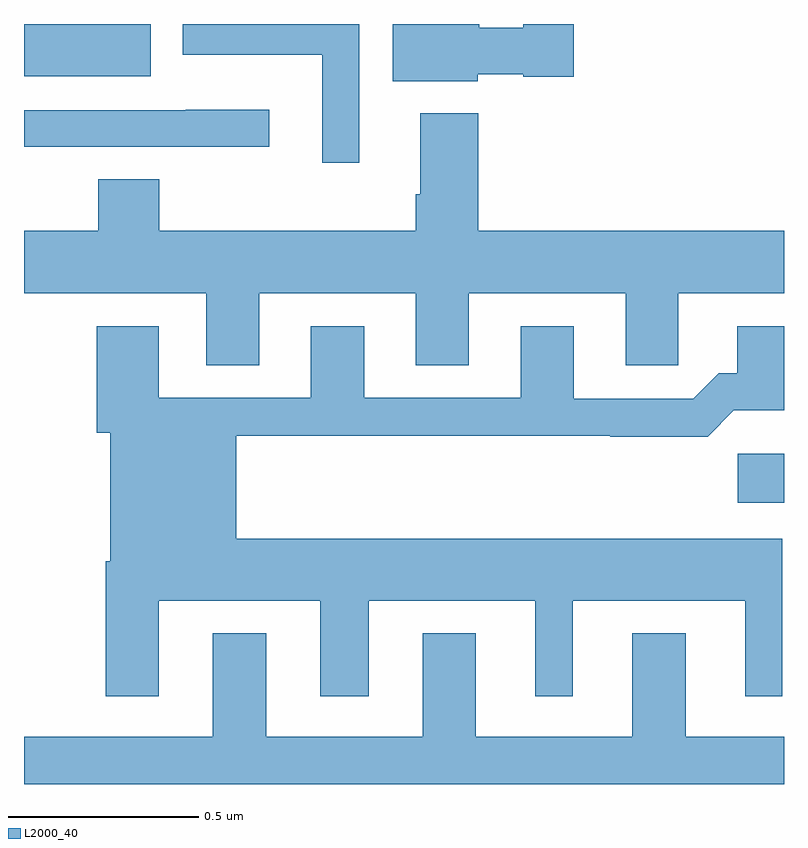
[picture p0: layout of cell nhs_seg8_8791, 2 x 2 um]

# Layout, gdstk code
import gdstk
lib = gdstk.Library(unit=1e-6, precision=1e-09)
def R(c, l, rs):  # rectangles x0, y0, x1, y1
    for r in rs: c.add(gdstk.rectangle(r[:2], r[2:], *l))
def P(c, l, *ps):  # polygons
    for p in ps: c.add(gdstk.Polygon(p, *l))
L2000_40 = (2000, 40)

nhs_seg8_8791 = lib.new_cell('nhs_seg8_8791')
R(nhs_seg8_8791, L2000_40, [(229.878,1090.64,230,1090.769), (228,1091.762,228.333,1091.9)])
P(nhs_seg8_8791, L2000_40, [(228.882,1091.9),(228.418,1091.9),(228.418,1091.819),(228.785,1091.819),(228.785,1091.535),(228.882,1091.535)],
  [(229.194,1091.768),(229.314,1091.768),(229.314,1091.761),(229.447,1091.761),(229.447,1091.9),(229.314,1091.9),(229.314,1091.89),(229.198,1091.89),(229.198,1091.9),(228.971,1091.9),(228.971,1091.75),(229.194,1091.75)],
  [(228.646,1091.674),(228.426,1091.674),(228.426,1091.673),(228,1091.673),(228,1091.577),(228.646,1091.577)],
  [(228.619,1091.192),(229.031,1091.192),(229.031,1091.002),(229.171,1091.002),(229.171,1091.192),(229.583,1091.192),(229.583,1091.002),(229.722,1091.002),(229.722,1091.192),(230,1091.192),(230,1091.356),(229.196,1091.356),(229.196,1091.665),(229.043,1091.665),(229.043,1091.452),(229.031,1091.452),(229.031,1091.356),(228.356,1091.356),(228.356,1091.492),(228.196,1091.492),(228.196,1091.356),(228,1091.356),(228,1091.192),(228.479,1091.192),(228.479,1091.002),(228.619,1091.002)],
  [(228.355,1090.382),(228.779,1090.382),(228.779,1090.131),(228.907,1090.131),(228.907,1090.382),(229.346,1090.382),(229.346,1090.131),(229.444,1090.131),(229.444,1090.382),(229.898,1090.382),(229.898,1090.131),(229.996,1090.131),(229.996,1090.546),(228.559,1090.546),(228.559,1090.816),(229.543,1090.816),(229.543,1090.814),(229.799,1090.814),(229.868,1090.883),(230,1090.883),(230,1091.104),(229.877,1091.104),(229.877,1090.981),(229.828,1090.981),(229.761,1090.914),(229.447,1090.914),(229.447,1091.104),(229.307,1091.104),(229.307,1090.917),(228.895,1090.917),(228.895,1091.104),(228.755,1091.104),(228.755,1090.917),(228.355,1090.917),(228.355,1091.104),(228.191,1091.104),(228.191,1090.824),(228.227,1090.824),(228.227,1090.486),(228.215,1090.486),(228.215,1090.131),(228.355,1090.131)],
  [(230,1090.024),(229.741,1090.024),(229.741,1090.297),(229.601,1090.297),(229.601,1090.024),(229.189,1090.024),(229.189,1090.297),(229.049,1090.297),(229.049,1090.024),(228.637,1090.024),(228.637,1090.297),(228.497,1090.297),(228.497,1090.024),(228,1090.024),(228,1089.9),(230,1089.9)])

lib.write_gds('nhs_seg8_8791.gds')
